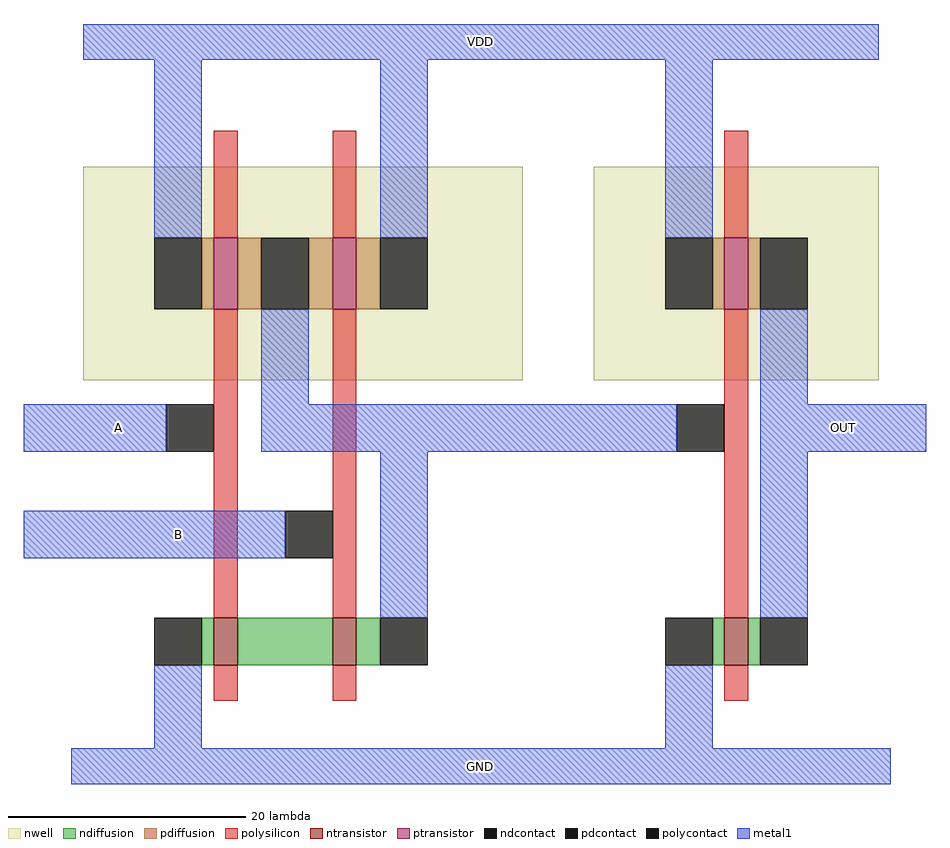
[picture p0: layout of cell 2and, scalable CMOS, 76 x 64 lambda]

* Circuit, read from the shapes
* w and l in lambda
.subckt 2and A B GND OUT VDD
M1 n1 A GND VSUBS nfet w=4 l=2
M2 n2 B n1 VSUBS nfet w=4 l=2
M3 OUT n2 GND VSUBS nfet w=4 l=2
M4 n2 A VDD n3 pfet w=6 l=2
M5 VDD B n2 n3 pfet w=6 l=2
M6 OUT n2 VDD n4 pfet w=6 l=2
.ends

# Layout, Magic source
magic
tech scmos
<< nwell >>
rect 0 -1 37 17
rect 43 -1 67 17
<< ntransistor >>
rect 11 -25 13 -21
rect 21 -25 23 -21
rect 54 -25 56 -21
<< ptransistor >>
rect 11 5 13 11
rect 21 5 23 11
rect 54 5 56 11
<< ndiffusion >>
rect 10 -25 11 -21
rect 13 -25 21 -21
rect 23 -25 25 -21
rect 53 -25 54 -21
rect 56 -25 57 -21
<< pdiffusion >>
rect 10 5 11 11
rect 13 5 15 11
rect 19 5 21 11
rect 23 5 25 11
rect 53 5 54 11
rect 56 5 57 11
<< ndcontact >>
rect 6 -25 10 -21
rect 25 -25 29 -21
rect 49 -25 53 -21
rect 57 -25 61 -21
<< pdcontact >>
rect 6 5 10 11
rect 15 5 19 11
rect 25 5 29 11
rect 49 5 53 11
rect 57 5 61 11
<< polysilicon >>
rect 11 11 13 20
rect 21 11 23 20
rect 54 11 56 20
rect 11 -21 13 5
rect 21 -21 23 5
rect 54 -21 56 5
rect 11 -28 13 -25
rect 21 -28 23 -25
rect 54 -28 56 -25
<< polycontact >>
rect 7 -7 11 -3
rect 17 -16 21 -12
rect 50 -7 54 -3
<< metal1 >>
rect 0 26 67 29
rect 6 11 10 26
rect 25 11 29 26
rect 49 11 53 26
rect 15 -3 19 5
rect 57 -3 61 5
rect -5 -7 7 -3
rect 15 -7 50 -3
rect 57 -7 71 -3
rect -5 -16 17 -12
rect 25 -21 29 -7
rect 57 -21 61 -7
rect 6 -32 10 -25
rect 49 -32 53 -25
rect -1 -35 68 -32
<< labels >>
rlabel metal1 -5 -16 21 -12 1 B
rlabel metal1 -5 -7 11 -3 1 A
rlabel metal1 57 -7 71 -3 1 OUT
rlabel metal1 0 26 67 29 5 VDD
rlabel metal1 -1 -35 68 -32 1 GND
<< end >>
